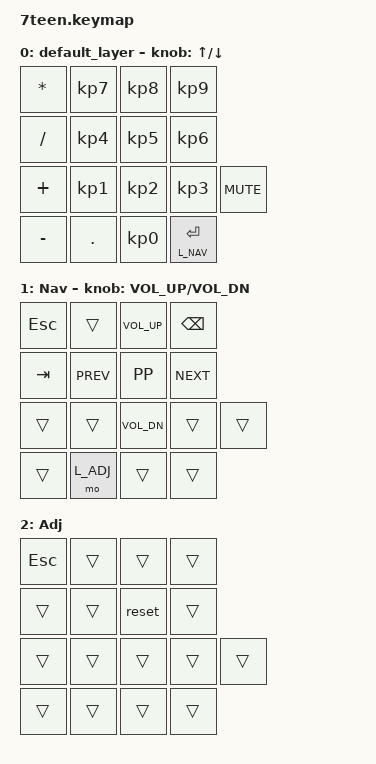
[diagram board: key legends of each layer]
/*
 * Copyright (c) 2020 The ZMK Contributors
 *
 * SPDX-License-Identifier: MIT
 */

#include <behaviors.dtsi>
#include <dt-bindings/zmk/keys.h>

#define L_DEF 0
#define L_NAV 1
#define L_ADJ 2

/ {
    keymap {
        compatible = "zmk,keymap";

        default_layer {
            bindings = <
    &kp ASTRK &kp KP_N7 &kp KP_N8 &kp KP_N9
    &kp SLASH &kp KP_N4 &kp KP_N5 &kp KP_N6
    &kp PLUS  &kp KP_N1 &kp KP_N2 &kp KP_N3 &kp K_MUTE
    &kp MINUS &kp DOT   &kp KP_N0 &lt L_NAV ENTER
            >;

sensor-bindings = <&inc_dec_kp UP DOWN>;
        };

        nav_layer {
            label = "Nav";
            bindings = <
    &kp ESC  &trans     &kp K_VOL_UP &kp BSPC
    &kp TAB  &kp K_PREV &kp K_PP     &kp K_NEXT
    &trans   &trans     &kp K_VOL_DN &trans &trans
    &trans   &mo L_ADJ  &trans       &trans
            >;
sensor-bindings = <&inc_dec_kp C_VOL_UP C_VOL_DN>;
        };

        adj_layer {
            label = "Adj";
            bindings = <
    &kp ESC &trans  &trans  &trans
    &trans  &trans  &reset  &trans
    &trans  &trans  &trans  &trans  &trans
    &trans  &trans  &trans  &trans
            >;
        };
    };
};
